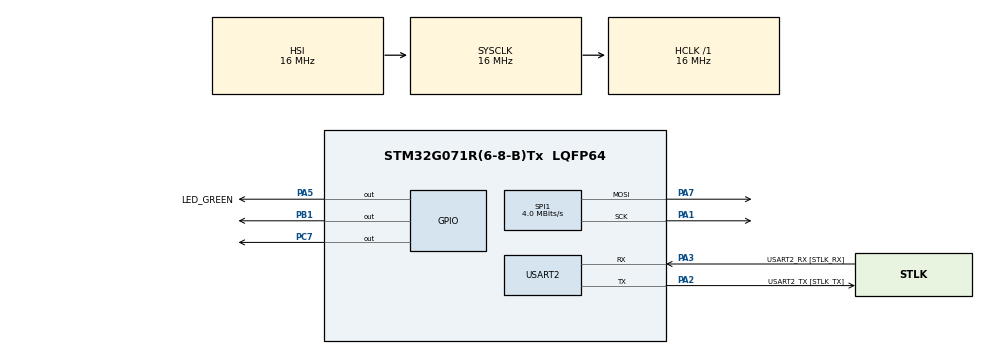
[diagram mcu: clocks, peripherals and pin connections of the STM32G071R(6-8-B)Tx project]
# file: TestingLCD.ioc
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Mcu.Family=STM32G0
Mcu.Name=STM32G071R(6-8-B)Tx
Mcu.Package=LQFP64
PA1.Mode=TX_Only_Simplex_Unidirect_Master
PA1.Signal=SPI1_SCK
PA13.GPIO_Label=TMS
PA13.Mode=Serial_Wire
PA13.Signal=SYS_SWDIO
PA14-BOOT0.GPIO_Label=TCK
PA14-BOOT0.Mode=Serial_Wire
PA14-BOOT0.Signal=SYS_SWCLK
PA2.GPIO_Label=USART2_TX [STLK_TX]
PA2.GPIO_PuPd=GPIO_PULLUP
PA2.Mode=Asynchronous
PA2.Signal=USART2_TX
PA3.GPIO_Label=USART2_RX [STLK_RX]
PA3.GPIO_PuPd=GPIO_PULLUP
PA3.Mode=Asynchronous
PA3.Signal=USART2_RX
PA5.GPIO_Label=LED_GREEN
PA5.GPIO_Speed=GPIO_SPEED_FREQ_HIGH
PA5.Signal=GPIO_Output
PA7.Mode=TX_Only_Simplex_Unidirect_Master
PA7.Signal=SPI1_MOSI
PB1.Signal=GPIO_Output
PC13.Mode=SYS_WakeUp1
PC13.Signal=SYS_WKUP2
PC14-OSC32_IN\ (PC14).Mode=LSE-External-Oscillator
PC14-OSC32_IN\ (PC14).Signal=RCC_OSC32_IN
PC15-OSC32_OUT\ (PC15).Mode=LSE-External-Oscillator
PC15-OSC32_OUT\ (PC15).Signal=RCC_OSC32_OUT
PC7.Signal=GPIO_Output
PF0-OSC_IN\ (PF0).GPIO_Label=MCO
PF0-OSC_IN\ (PF0).Mode=HSE-External-Clock-Source
PF0-OSC_IN\ (PF0).Signal=RCC_OSC_IN
ProjectManager.HeapSize=0x200
ProjectManager.StackSize=0x400
ProjectManager.TargetToolchain=STM32CubeIDE
RCC.ADCFreq_Value=16000000
RCC.AHBFreq_Value=16000000
RCC.APB1CLKDivider=RCC_HCLK_DIV2
RCC.CortexFreq_Value=16000000
RCC.EXTERNAL_CLOCK_VALUE=12288000
RCC.HCLKFreq_Value=16000000
RCC.HSE_VALUE=8000000
RCC.HSI_VALUE=16000000
RCC.SYSCLKFreq_VALUE=16000000
RCC.VCOOutputFreq_Value=128000000
SPI1.BaudRatePrescaler=SPI_BAUDRATEPRESCALER_2
SPI1.CLKPhase=SPI_PHASE_1EDGE
SPI1.CLKPolarity=SPI_POLARITY_LOW
SPI1.CalculateBaudRate=4.0 MBits/s
SPI1.DataSize=SPI_DATASIZE_8BIT
SPI1.Direction=SPI_DIRECTION_2LINES
SPI1.Mode=SPI_MODE_MASTER
SPI1.VirtualType=VM_MASTER
USART2.VirtualMode-Asynchronous=VM_ASYNC
board=NUCLEO-G071RB

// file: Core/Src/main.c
/* USER CODE BEGIN Header */
/**
 ******************************************************************************
 * @file           : main.c
 * @brief          : Main program body
 ******************************************************************************
 * @attention
 *
 * Copyright (c) 2024 STMicroelectronics.
 * All rights reserved.
 *
 * This software is licensed under terms that can be found in the LICENSE file
 * in the root directory of this software component.
 * If no LICENSE file comes with this software, it is provided AS-IS.
 *
 ******************************************************************************
 */
/* USER CODE END Header */
#include "main.h"

/* USER CODE BEGIN Includes */
#include "font8x8_basic.h"
#include "font8x8_greek.h"
/* USER CODE END Includes */

SPI_HandleTypeDef hspi1;

UART_HandleTypeDef huart2;

void SystemClock_Config(void);
static void MX_GPIO_Init(void);
static void MX_USART2_UART_Init(void);
static void MX_SPI1_Init(void);

/* USER CODE BEGIN 0 */

void send_command(uint8_t byte) {
	// Set RS/A0 low (command).
	HAL_GPIO_WritePin(GPIOB, GPIO_PIN_1, GPIO_PIN_RESET);
	HAL_SPI_Transmit(&hspi1, &byte, 1, HAL_MAX_DELAY);
}

void send_data(uint8_t byte) {
	// Set RS/A0 high (data).
	HAL_GPIO_WritePin(GPIOB, GPIO_PIN_1, GPIO_PIN_SET);
	HAL_SPI_Transmit(&hspi1, &byte, 1, HAL_MAX_DELAY);
}

void send_char_bytes(char *bytes) {
	for (int x = 0; x < 8; x++) {
		uint8_t col = 0;
		for (int y = 0; y < 8; y++) {
			char row = bytes[y];
			col |= ((row >> x) & 1) << y;
		}
		send_data(col);
	}
}

void send_char(char ch) {
	send_char_bytes(font8x8_basic[ch]);
}

void send_greek_char(int index) {
	send_char_bytes(font8x8_greek[index]);
}
/* USER CODE END 0 */

int main(void)
{

  /* MCU Configuration--------------------------------------------------------*/

  /* Reset of all peripherals, Initializes the Flash interface and the Systick. */
  HAL_Init();

  /* Configure the system clock */
  SystemClock_Config();

  /* Initialize all configured peripherals */
  MX_GPIO_Init();
  MX_USART2_UART_Init();
  MX_SPI1_Init();
  /* USER CODE BEGIN 2 */
	// send_command(0xE2); // System Reset
	// HAL_Delay(10);

	// Hardware reset LCD.
	HAL_GPIO_WritePin(GPIOC, GPIO_PIN_7, GPIO_PIN_SET);
	HAL_Delay(1);
	HAL_GPIO_WritePin(GPIOC, GPIO_PIN_7, GPIO_PIN_RESET);
	HAL_Delay(10);
	HAL_GPIO_WritePin(GPIOC, GPIO_PIN_7, GPIO_PIN_SET);

	// Set power control.
	send_command(0x28 | 0x4);
	HAL_Delay(50);
	send_command(0x28 | 0x6);
	HAL_Delay(50);
	send_command(0x28 | 0x7);
	HAL_Delay(50);

	// Set regulation ratio.
	send_command(0x20 | 0b11);

	// Set SEG direction to normal and COM direction to reverse.
	send_command(0xA0);
	send_command(0xC8);

	// Set bias.
	send_command(0xA3);

	// Set display on.
	send_command(0xaf);

	// Set contrast.
	send_command(0x81);
	send_command(0x30);

  /* USER CODE END 2 */

  /* Infinite loop */
  /* USER CODE BEGIN WHILE */

	for (int i = 0; i < 8; i++) {
		send_command(0xb0 | i);
		send_command(0x10);
		send_command(0);
		for (int x = 0; x < 132; x++) {
			send_data(0);
		}
	}

	send_command(0xb0 | 0); // Set page address 0
	send_command(0x10 | 0); // Set column address 0
	send_command(0);

	send_char('H');
	send_char('E');
	send_char('L');
	send_char('L');
	send_char('O');

	send_command(0xb0 | 1); // Set page address 0
	send_command(0x10 | 0); // Set column address 0
	send_command(0);

	send_char('S');
	send_char('H');
	send_char('A');
	send_char('N');
	send_char('E');
	send_char('L');
	send_char('L');
	send_char('E');

	send_command(0xb0 | 2); // Set page address 0
	send_command(0x10 | 0); // Set column address 0
	send_command(0);

	for (char ch = '0'; ch <= '9'; ch++) {
		send_char(ch);
	}

	send_command(0xb0 | 3); // Set page address 0
	send_command(0x10 | 0); // Set column address 0
	send_command(0);

	for (char ch = '!'; ch <= '+'; ch++) {
		send_char(ch);
	}

	send_command(0xb0 | 4); // Set page address 0
	send_command(0x10 | 0); // Set column address 0
	send_command(0);

	for (int i = 33; i < 45; i++) {
		send_greek_char(i);
	}

	while (1) {
		HAL_Delay(1);
	}

//	uint8_t foo = 0;
//	while (1) {
//    /* USER CODE END WHILE */
//
//    /* USER CODE BEGIN 3 */
//
//		for (int i = 0; i < 8; i++) {
//			send_command(0xb0 | i); // Set page address 0
//			send_command(0x10 | 0); // Set column address 0
//			send_command(0);
//
//			for (int j = 0; j < 132; j++) {
//				send_data(j * i);
//			}
//		}
//
//		foo = !foo;
//
//		HAL_Delay(1000);
//	}
  /* USER CODE END 3 */
}

void SystemClock_Config(void)
{
  RCC_OscInitTypeDef RCC_OscInitStruct = {0};
  RCC_ClkInitTypeDef RCC_ClkInitStruct = {0};

  /** Configure the main internal regulator output voltage
  */
  HAL_PWREx_ControlVoltageScaling(PWR_REGULATOR_VOLTAGE_SCALE1);

  /** Initializes the RCC Oscillators according to the specified parameters
  * in the RCC_OscInitTypeDef structure.
  */
  RCC_OscInitStruct.OscillatorType = RCC_OSCILLATORTYPE_HSI;
  RCC_OscInitStruct.HSIState = RCC_HSI_ON;
  RCC_OscInitStruct.HSIDiv = RCC_HSI_DIV1;
  RCC_OscInitStruct.HSICalibrationValue = RCC_HSICALIBRATION_DEFAULT;
  RCC_OscInitStruct.PLL.PLLState = RCC_PLL_NONE;
  if (HAL_RCC_OscConfig(&RCC_OscInitStruct) != HAL_OK)
  {
    Error_Handler();
  }

  /** Initializes the CPU, AHB and APB buses clocks
  */
  RCC_ClkInitStruct.ClockType = RCC_CLOCKTYPE_HCLK|RCC_CLOCKTYPE_SYSCLK
                              |RCC_CLOCKTYPE_PCLK1;
  RCC_ClkInitStruct.SYSCLKSource = RCC_SYSCLKSOURCE_HSI;
  RCC_ClkInitStruct.AHBCLKDivider = RCC_SYSCLK_DIV1;
  RCC_ClkInitStruct.APB1CLKDivider = RCC_HCLK_DIV2;

  if (HAL_RCC_ClockConfig(&RCC_ClkInitStruct, FLASH_LATENCY_0) != HAL_OK)
  {
    Error_Handler();
  }
}

static void MX_SPI1_Init(void)
{

  /* SPI1 parameter configuration*/
  hspi1.Instance = SPI1;
  hspi1.Init.Mode = SPI_MODE_MASTER;
  hspi1.Init.Direction = SPI_DIRECTION_2LINES;
  hspi1.Init.DataSize = SPI_DATASIZE_8BIT;
  hspi1.Init.CLKPolarity = SPI_POLARITY_LOW;
  hspi1.Init.CLKPhase = SPI_PHASE_1EDGE;
  hspi1.Init.NSS = SPI_NSS_SOFT;
  hspi1.Init.BaudRatePrescaler = SPI_BAUDRATEPRESCALER_2;
  hspi1.Init.FirstBit = SPI_FIRSTBIT_MSB;
  hspi1.Init.TIMode = SPI_TIMODE_DISABLE;
  hspi1.Init.CRCCalculation = SPI_CRCCALCULATION_DISABLE;
  hspi1.Init.CRCPolynomial = 7;
  hspi1.Init.CRCLength = SPI_CRC_LENGTH_DATASIZE;
  hspi1.Init.NSSPMode = SPI_NSS_PULSE_ENABLE;
  if (HAL_SPI_Init(&hspi1) != HAL_OK)
  {
    Error_Handler();
  }

}

static void MX_USART2_UART_Init(void)
{

  huart2.Instance = USART2;
  huart2.Init.BaudRate = 115200;
  huart2.Init.WordLength = UART_WORDLENGTH_8B;
  huart2.Init.StopBits = UART_STOPBITS_1;
  huart2.Init.Parity = UART_PARITY_NONE;
  huart2.Init.Mode = UART_MODE_TX_RX;
  huart2.Init.HwFlowCtl = UART_HWCONTROL_NONE;
  huart2.Init.OverSampling = UART_OVERSAMPLING_16;
  huart2.Init.OneBitSampling = UART_ONE_BIT_SAMPLE_DISABLE;
  huart2.Init.ClockPrescaler = UART_PRESCALER_DIV1;
  huart2.AdvancedInit.AdvFeatureInit = UART_ADVFEATURE_NO_INIT;
  if (HAL_UART_Init(&huart2) != HAL_OK)
  {
    Error_Handler();
  }
  if (HAL_UARTEx_SetTxFifoThreshold(&huart2, UART_TXFIFO_THRESHOLD_1_8) != HAL_OK)
  {
    Error_Handler();
  }
  if (HAL_UARTEx_SetRxFifoThreshold(&huart2, UART_RXFIFO_THRESHOLD_1_8) != HAL_OK)
  {
    Error_Handler();
  }
  if (HAL_UARTEx_DisableFifoMode(&huart2) != HAL_OK)
  {
    Error_Handler();
  }

}

static void MX_GPIO_Init(void)
{
  GPIO_InitTypeDef GPIO_InitStruct = {0};

  /* GPIO Ports Clock Enable */
  __HAL_RCC_GPIOC_CLK_ENABLE();
  __HAL_RCC_GPIOF_CLK_ENABLE();
  __HAL_RCC_GPIOA_CLK_ENABLE();
  __HAL_RCC_GPIOB_CLK_ENABLE();

  /*Configure GPIO pin Output Level */
  HAL_GPIO_WritePin(LED_GREEN_GPIO_Port, LED_GREEN_Pin, GPIO_PIN_RESET);

  /*Configure GPIO pin Output Level */
  HAL_GPIO_WritePin(GPIOB, GPIO_PIN_1, GPIO_PIN_RESET);

  /*Configure GPIO pin Output Level */
  HAL_GPIO_WritePin(GPIOC, GPIO_PIN_7, GPIO_PIN_RESET);

  /*Configure GPIO pin : LED_GREEN_Pin */
  GPIO_InitStruct.Pin = LED_GREEN_Pin;
  GPIO_InitStruct.Mode = GPIO_MODE_OUTPUT_PP;
  GPIO_InitStruct.Pull = GPIO_NOPULL;
  GPIO_InitStruct.Speed = GPIO_SPEED_FREQ_HIGH;
  HAL_GPIO_Init(LED_GREEN_GPIO_Port, &GPIO_InitStruct);

  /*Configure GPIO pin : PB1 */
  GPIO_InitStruct.Pin = GPIO_PIN_1;
  GPIO_InitStruct.Mode = GPIO_MODE_OUTPUT_PP;
  GPIO_InitStruct.Pull = GPIO_NOPULL;
  GPIO_InitStruct.Speed = GPIO_SPEED_FREQ_LOW;
  HAL_GPIO_Init(GPIOB, &GPIO_InitStruct);

  /*Configure GPIO pin : PC7 */
  GPIO_InitStruct.Pin = GPIO_PIN_7;
  GPIO_InitStruct.Mode = GPIO_MODE_OUTPUT_PP;
  GPIO_InitStruct.Pull = GPIO_NOPULL;
  GPIO_InitStruct.Speed = GPIO_SPEED_FREQ_LOW;
  HAL_GPIO_Init(GPIOC, &GPIO_InitStruct);

}

void Error_Handler(void)
{
	__disable_irq();
	while (1) {
	}
}
